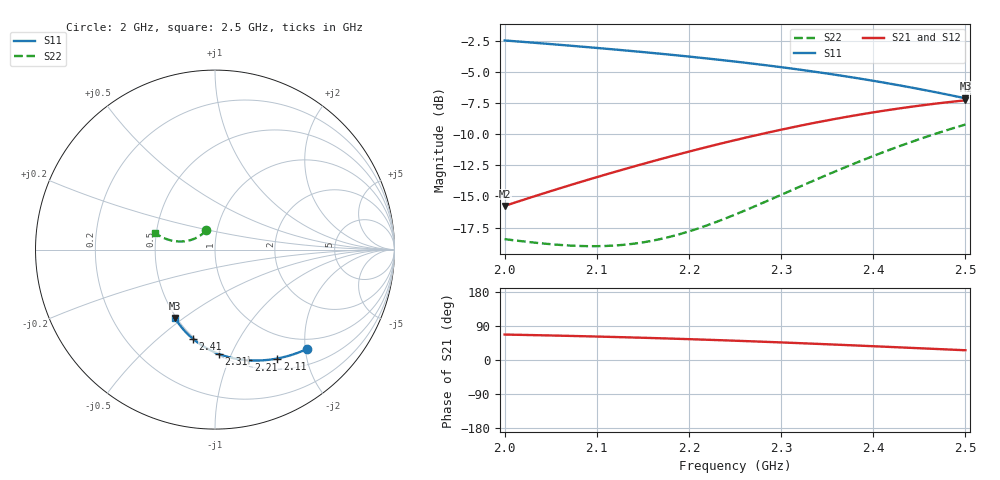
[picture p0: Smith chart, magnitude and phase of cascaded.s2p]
! Cascaded S-parameters: /home/will/projects/rf_impedance_matching_tool/tests/fixtures/sample_device.s2p + matching network
! Topology: L-section
! Target: 2.250 GHz
! Generated by SNP Tool
# GHz S MA R 50
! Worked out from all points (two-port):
!   51 points, 2 GHz to 2.5 GHz, reference 50 ohm
!   highest |S21| = -7.26 dB at 2.5 GHz (marker M1); lowest = -15.8 dB at 2 GHz (marker M2)
!   |S21| within 3 dB of the highest: 2.262 GHz to end of sweep
!   lowest |S11| = -7.1 dB at 2.5 GHz (marker M3), VSWR 2.58, Z = 24.5 - j23.2 ohm
!   |S11| at or under -10 dB: nowhere
!   |S22| runs from -19.0 to -9.2 dB; largest |S21 - S12| = 0
!   S11 on the Smith chart (normalised r, x): 2 GHz: 0.79, -2.03; 2.11 GHz: 0.64, -1.53; 2.21 GHz: 0.56, -1.18; 2.31 GHz: 0.51, -0.90; 2.41 GHz: 0.49, -0.66; 2.5 GHz: 0.49, -0.46
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2  0.7544 -47.2  0.1629 67.1  0.1629 67.1  0.1198 113.7
2.05  0.7295 -53.0  0.1868 64.7  0.1868 64.7  0.1143 120.8
2.07  0.7194 -55.4  0.1969 63.6  0.1969 63.6  0.1129 124.3
2.09  0.7091 -57.8  0.2074 62.5  0.2074 62.5  0.1123 128.1
2.11  0.6987 -60.3  0.2181 61.3  0.2181 61.3  0.1125 132.2
2.13  0.6882 -62.8  0.2291 60.0  0.2291 60.0  0.1137 136.6
2.14  0.6829 -64.0  0.2346 59.3  0.2346 59.3  0.1148 138.8
2.16  0.6721 -66.6  0.246 58.0  0.246 58.0  0.118 143.2
2.17  0.6666 -67.9  0.2518 57.2  0.2518 57.2  0.1201 145.3
2.19  0.6555 -70.5  0.2635 55.8  0.2635 55.8  0.1254 149.6
2.21  0.6441 -73.3  0.2754 54.2  0.2754 54.2  0.1323 153.4
2.23  0.6325 -76.0  0.2875 52.6  0.2875 52.6  0.1406 156.9
2.25  0.6205 -78.8  0.2996 50.9  0.2996 50.9  0.1504 159.9
2.28  0.6019 -83.2  0.3179 48.2  0.3179 48.2  0.1675 163.5
2.31  0.5825 -87.7  0.3361 45.4  0.3361 45.4  0.1874 166.0
2.34  0.5623 -92.4  0.3539 42.5  0.3539 42.5  0.2095 167.5
2.37  0.5411 -97.2  0.3711 39.5  0.3711 39.5  0.2334 168.2
2.41  0.5117 -104.0  0.3928 35.3  0.3928 35.3  0.2673 168.0
2.42  0.5041 -105.7  0.3979 34.2  0.3979 34.2  0.276 167.8
2.46  0.4732 -112.9  0.4169 30.0  0.4169 30.0  0.3112 166.4
2.48  0.4574 -116.6  0.4254 27.9  0.4254 27.9  0.3288 165.5
2.5  0.4415 -120.4  0.4333 25.7  0.4333 25.7  0.3463 164.4
